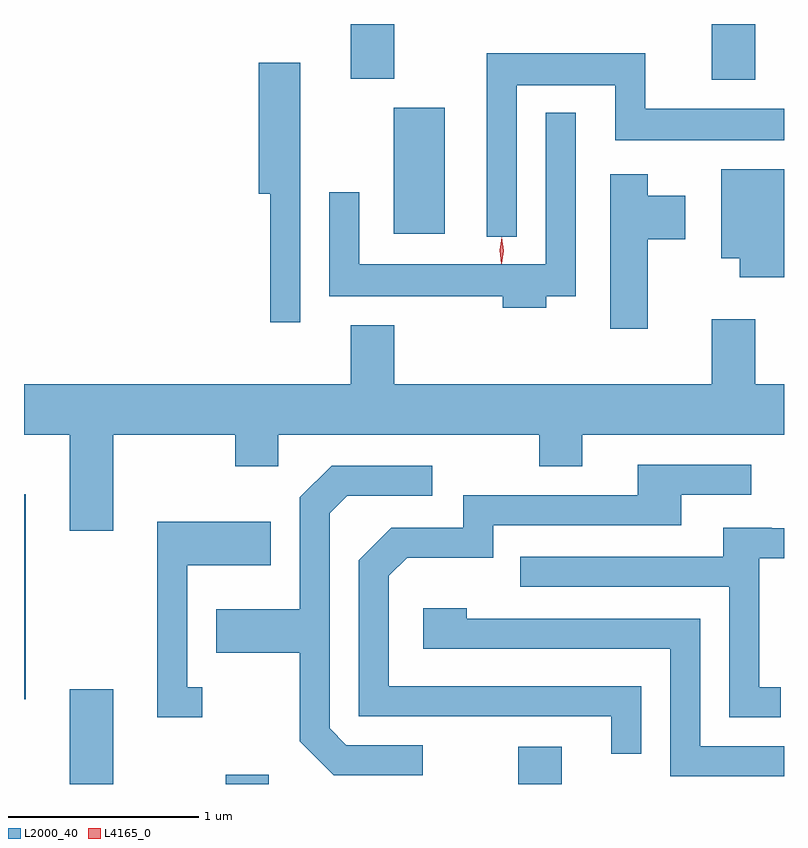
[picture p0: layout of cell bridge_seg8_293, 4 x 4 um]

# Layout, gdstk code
import gdstk
lib = gdstk.Library(unit=1e-6, precision=1e-09)
def R(c, l, rs):  # rectangles x0, y0, x1, y1
    for r in rs: c.add(gdstk.rectangle(r[:2], r[2:], *l))
def P(c, l, *ps):  # polygons
    for p in ps: c.add(gdstk.Polygon(p, *l))
L2000_40 = (2000, 40)
L4165_0 = (4165, 0)

bridge_seg8_293 = lib.new_cell('bridge_seg8_293')
R(bridge_seg8_293, L2000_40, [(1403.851,1812.379,1404.079,1812.879), (1404.671,1812.379,1404.899,1812.429), (1406.211,1812.379,1406.439,1812.574), (1403.61,1812.826,1403.619,1813.904), (1405.556,1815.276,1405.824,1815.939), (1407.231,1816.086,1407.459,1816.379), (1405.331,1816.091,1405.559,1816.379)])
P(bridge_seg8_293, L2000_40, [(1406.204,1816.056),(1406.721,1816.056),(1406.721,1815.766),(1407.61,1815.766),(1407.61,1815.934),(1406.879,1815.934),(1406.879,1816.224),(1406.046,1816.224),(1406.046,1815.258),(1406.204,1815.258)],
  [(1405.064,1816.174),(1404.846,1816.174),(1404.846,1815.486),(1404.906,1815.486),(1404.906,1814.808),(1405.064,1814.808)],
  [(1406.359,1814.946),(1406.514,1814.946),(1406.514,1815.913),(1406.356,1815.913),(1406.356,1815.114),(1405.374,1815.114),(1405.374,1815.493),(1405.216,1815.493),(1405.216,1814.946),(1406.131,1814.946),(1406.131,1814.886),(1406.359,1814.886)],
  [(1407.61,1815.614),(1407.281,1815.614),(1407.281,1815.146),(1407.376,1815.146),(1407.376,1815.046),(1407.61,1815.046)],
  [(1406.894,1815.246),(1407.089,1815.246),(1407.089,1815.474),(1406.894,1815.474),(1406.894,1815.589),(1406.696,1815.589),(1406.696,1814.776),(1406.894,1814.776)],
  [(1404.079,1814.216),(1404.721,1814.216),(1404.721,1814.051),(1404.949,1814.051),(1404.949,1814.216),(1406.321,1814.216),(1406.321,1814.051),(1406.549,1814.051),(1406.549,1814.216),(1407.61,1814.216),(1407.61,1814.484),(1407.459,1814.484),(1407.459,1814.824),(1407.231,1814.824),(1407.231,1814.484),(1405.559,1814.484),(1405.559,1814.794),(1405.331,1814.794),(1405.331,1814.484),(1403.61,1814.484),(1403.61,1814.216),(1403.851,1814.216),(1403.851,1813.711),(1404.079,1813.711)],
  [(1406.859,1812.894),(1405.529,1812.894),(1405.529,1813.474),(1405.627,1813.571),(1406.079,1813.571),(1406.079,1813.741),(1407.069,1813.741),(1407.069,1813.901),(1407.438,1813.901),(1407.438,1814.059),(1406.841,1814.059),(1406.841,1813.899),(1405.921,1813.899),(1405.921,1813.729),(1405.544,1813.729),(1405.371,1813.557),(1405.371,1812.736),(1406.701,1812.736),(1406.701,1812.538),(1406.859,1812.538)],
  [(1405.708,1812.584),(1405.307,1812.584),(1405.219,1812.672),(1405.219,1813.804),(1405.312,1813.896),(1405.758,1813.896),(1405.758,1814.054),(1405.229,1814.054),(1405.061,1813.887),(1405.061,1813.299),(1404.621,1813.299),(1404.621,1813.071),(1405.061,1813.071),(1405.061,1812.604),(1405.239,1812.426),(1405.708,1812.426)],
  [(1404.548,1812.889),(1404.469,1812.889),(1404.469,1813.531),(1404.909,1813.531),(1404.909,1813.759),(1404.311,1813.759),(1404.311,1812.731),(1404.548,1812.731)],
  [(1407.593,1812.889),(1407.479,1812.889),(1407.479,1813.566),(1407.61,1813.566),(1407.61,1813.724),(1407.545,1813.724),(1407.545,1813.729),(1407.291,1813.729),(1407.291,1813.574),(1406.223,1813.574),(1406.223,1813.416),(1407.321,1813.416),(1407.321,1812.731),(1407.593,1812.731)],
  [(1407.61,1812.579),(1407.169,1812.579),(1407.169,1813.249),(1405.939,1813.249),(1405.939,1813.304),(1405.711,1813.304),(1405.711,1813.091),(1407.011,1813.091),(1407.011,1812.421),(1407.61,1812.421)])
P(bridge_seg8_293, L4165_0, [(1406.123,1815.117),(1406.114,1815.187),(1406.124,1815.256),(1406.124,1815.256),(1406.125,1815.256),(1406.134,1815.186),(1406.124,1815.117),(1406.124,1815.117)],
  [(1406.125,1815.119),(1406.124,1815.12),(1406.115,1815.186),(1406.124,1815.252),(1406.125,1815.253),(1406.125,1815.252),(1406.135,1815.186),(1406.125,1815.12)])

lib.write_gds('bridge_seg8_293.gds')
